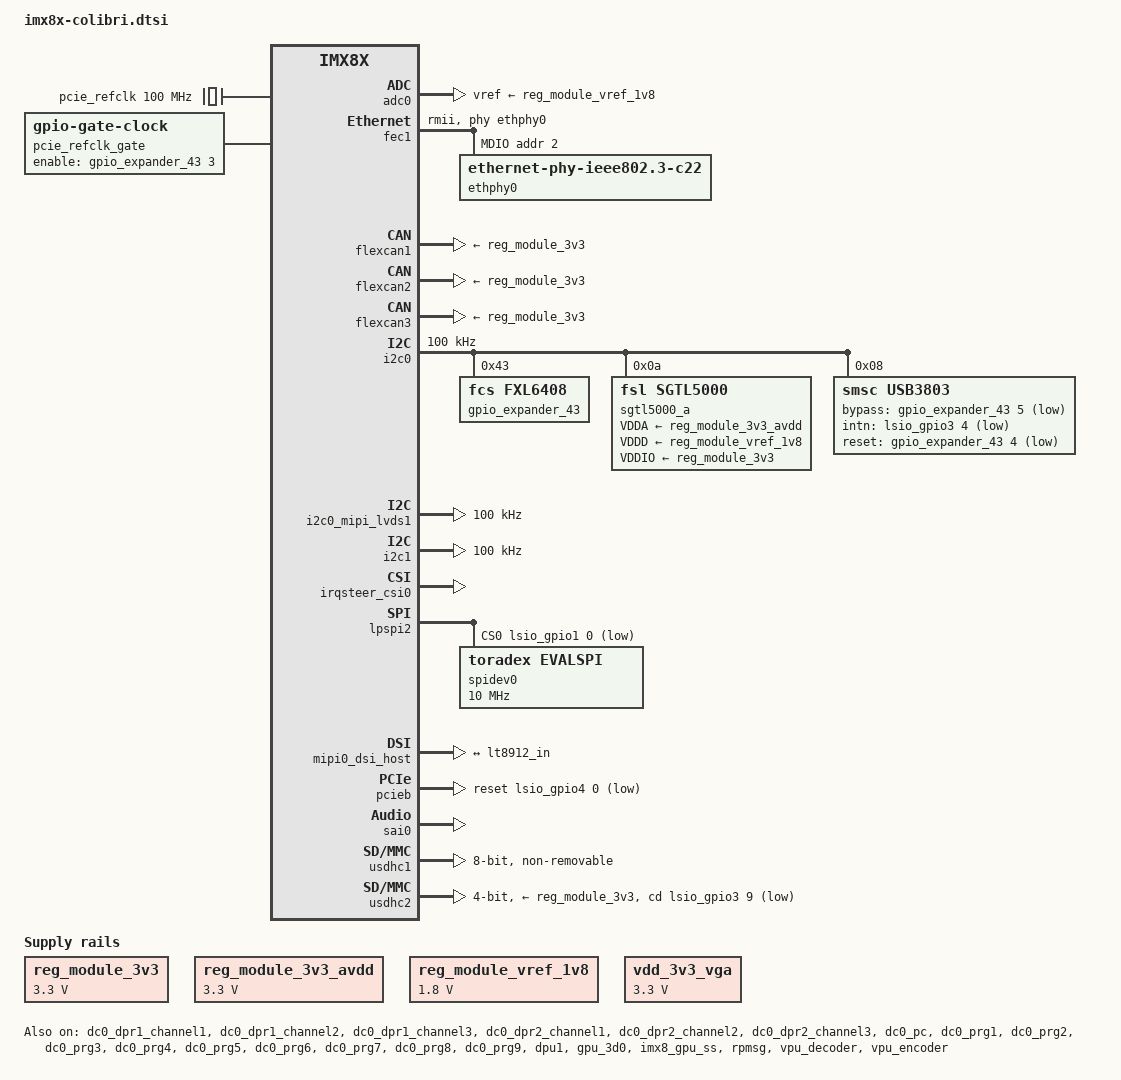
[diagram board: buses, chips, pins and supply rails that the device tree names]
// SPDX-License-Identifier: GPL-2.0+ OR X11
/*
 * Copyright 2018-2021 Toradex
 */

#include "dt-bindings/pwm/pwm.h"

/ {
	backlight: backlight {
		compatible = "pwm-backlight";
		pinctrl-names = "default";
		pinctrl-0 = <&pinctrl_gpio_bl_on>;
		brightness-levels = <0 45 63 88 119 158 203 255>;
		default-brightness-level = <4>;
		enable-gpios = <&lsio_gpio3 12 GPIO_ACTIVE_HIGH>; /* Colibri BL_ON */
		power-supply = <&reg_module_3v3>;
		pwms = <&adma_pwm 0 6666667 PWM_POLARITY_INVERTED>;
		status = "disabled";
	};

	chosen {
		bootargs = "console=ttyLP3,115200";
		stdout-path = &lpuart3;
	};

	/* Colibri Parallel RGB */
	display_lcdif: display@disp1 {
		compatible = "fsl,imx-lcdif-mux-display";
		pinctrl-names = "default";
		pinctrl-0 = <&pinctrl_lcdif>;
		clocks = <&clk IMX_SC_R_LCD_0 IMX_SC_PM_CLK_BYPASS>,
			 <&clk IMX_SC_R_LCD_0 IMX_SC_PM_CLK_MISC0>;
		clock-names = "bypass_div", "pixel";
		assigned-clocks = <&clk IMX_SC_R_LCD_0 IMX_SC_PM_CLK_MISC0>;
		assigned-clock-parents = <&clk IMX_SC_R_LCD_0 IMX_SC_PM_CLK_BYPASS>;
		fsl,lcdif-mux-regs = <&lcdif_mux_regs>;
		fsl,interface-pix-fmt = "rgb666";
		power-domains = <&pd IMX_SC_R_LCD_0>;
		status = "disabled";

		#address-cells = <1>;
		#size-cells = <0>;

		port@0 {
			reg = <0>;

			lcd_display_in: endpoint {
				remote-endpoint = <&dpu_disp1_lcdif>;
			};
		};
	};

	panel_dpi: panel-dpi {
		compatible = "panel-dpi";
		backlight = <&backlight>;
		data-mapping = "bgr666";
		power-supply = <&reg_module_3v3>;
		status = "disabled";
	};

	pcie_refclk: pcie-clock-generator {
		compatible = "fixed-clock";
		#clock-cells = <0>;
		clock-frequency = <100000000>;
	};

	pcie_refclk_gate: pcie-ref-clock {
		compatible = "gpio-gate-clock";
		#clock-cells = <0>;
		clocks = <&pcie_refclk>;
		enable-gpios = <&gpio_expander_43 3 GPIO_ACTIVE_HIGH>;
	};

	reg_module_3v3: regulator-module-3v3 {
		compatible = "regulator-fixed";
		regulator-name = "+V3.3";
		regulator-min-microvolt = <3300000>;
		regulator-max-microvolt = <3300000>;
	};

	reg_module_3v3_avdd: regulator-module-3v3-avdd {
		compatible = "regulator-fixed";
		regulator-name = "+V3.3_AVDD_AUDIO";
		regulator-min-microvolt = <3300000>;
		regulator-max-microvolt = <3300000>;
	};

	reg_module_vref_1v8: regulator-module-vref-1v8 {
		compatible = "regulator-fixed";
		regulator-name = "vref-1v8";
		regulator-min-microvolt = <1800000>;
		regulator-max-microvolt = <1800000>;
	};

	reserved-memory {
		#address-cells = <2>;
		#size-cells = <2>;
		ranges;

		/*
		 * 0x8800_0000 ~ 0x8FFF_FFFF is reserved for M4
		 * Shouldn't be used at A core and Linux side.
		 *
		 */
		m4_reserved: m4@0x88000000 {
			no-map;
			reg = <0 0x88000000 0 0x8000000>;
		};

		rpmsg_reserved: rpmsg@0x90000000 {
			no-map;
			reg = <0 0x90200000 0 0x200000>;
		};

		decoder_boot: decoder-boot@84000000 {
			reg = <0 0x84000000 0 0x2000000>;
			no-map;
		};

		encoder_boot: encoder-boot@86000000 {
			reg = <0 0x86000000 0 0x200000>;
			no-map;
		};

		decoder_rpc: decoder-rpc@0x92000000 {
			reg = <0 0x92000000 0 0x200000>;
			no-map;
		};

		encoder_rpc: encoder-rpc@0x92200000 {
			reg = <0 0x92200000 0 0x200000>;
			no-map;
		};

		encoder_reserved: encoder_reserved@94400000 {
			no-map;
			reg = <0 0x94400000 0 0x800000>;
		};

		vdev0vring0: vdev0vring0@90000000 {
			compatible = "shared-dma-pool";
			reg = <0 0x90000000 0 0x8000>;
			no-map;
		};

		vdev0vring1: vdev0vring1@90008000 {
			compatible = "shared-dma-pool";
			reg = <0 0x90008000 0 0x8000>;
			no-map;
		};

		vdev1vring0: vdev1vring0@90010000 {
			compatible = "shared-dma-pool";
			reg = <0 0x90010000 0 0x8000>;
			no-map;
		};

		vdev1vring1: vdev1vring1@90018000 {
			compatible = "shared-dma-pool";
			reg = <0 0x90018000 0 0x8000>;
			no-map;
		};

		vdevbuffer: vdevbuffer {
			compatible = "shared-dma-pool";
			reg = <0 0x90400000 0 0x100000>;
			no-map;
		};
	};

	sound_card: sound-card {
		compatible = "simple-audio-card";
		simple-audio-card,bitclock-master = <&dailink_master>;
		simple-audio-card,format = "i2s";
		simple-audio-card,frame-master = <&dailink_master>;
		simple-audio-card,name = "imx8qxp-sgtl5000";

		dailink_master: simple-audio-card,codec {
			sound-dai = <&sgtl5000_a>;
			clocks = <&mclkout0_lpcg 0>;
		};

		simple-audio-card,cpu {
			sound-dai = <&sai0>;
		};
	};

	vdd_3v3_vga: regulator-vga-avcc {
		compatible = "regulator-fixed";
		regulator-name = "+3.3V_AVCC_VGA";
		regulator-min-microvolt = <3300000>;
		regulator-max-microvolt = <3300000>;
		regulator-always-on;
	};
};

/* Colibri Analogue Inputs */
&adc0 {
	pinctrl-names = "default";
	pinctrl-0 = <&pinctrl_adc0>;
	status = "okay";
	vref-supply = <&reg_module_vref_1v8>;
};

/* Colibri PWM_A */
&adma_pwm {
	pinctrl-names = "default";
	pinctrl-0 = <&pinctrl_pwm_a>;
	#pwm-cells = <3>;
};

&adma_lcdif {
	pinctrl-names = "default";
	pinctrl-0 = <&pinctrl_lcdif>;
	status = "disabled";
};

/* Display Prefetch Resolve, (Tiling) */
&dc0_dpr1_channel1 {
	status = "okay";
};

&dc0_dpr1_channel2 {
	status = "okay";
};

&dc0_dpr1_channel3 {
	status = "okay";
};

&dc0_dpr2_channel1 {
	status = "okay";
};

&dc0_dpr2_channel2 {
	status = "okay";
};

&dc0_dpr2_channel3 {
	status = "okay";
};

&dc0_pc {
	status = "okay";
};

&dc0_prg1 {
	status = "okay";
};

&dc0_prg2 {
	status = "okay";
};

&dc0_prg3 {
	status = "okay";
};

&dc0_prg4 {
	status = "okay";
};

&dc0_prg5 {
	status = "okay";
};

&dc0_prg6 {
	status = "okay";
};

&dc0_prg7 {
	status = "okay";
};

&dc0_prg8 {
	status = "okay";
};

&dc0_prg9 {
	status = "okay";
};

&dpu1 {
	status = "okay";
};

&dpu_disp1_lcdif {
	remote-endpoint = <&lcd_display_in>;
};

&enet0_lpcg {
	clocks = <&clk IMX_SC_R_ENET_0 IMX_SC_PM_CLK_PER>,
		 <&clk IMX_SC_R_ENET_0 IMX_SC_PM_CLK_PER>,
		 <&conn_axi_clk>,
		 <&clk IMX_SC_R_ENET_0 IMX_SC_C_DISABLE_50>,
		 <&conn_ipg_clk>,
		 <&conn_ipg_clk>;
	clock-output-names = "enet0_lpcg_timer_clk",
			     "enet0_lpcg_txc_sampling_clk",
			     "enet0_lpcg_ahb_clk",
			     "enet0_lpcg_ref_50mhz_clk",
			     "enet0_lpcg_ipg_clk",
			     "enet0_lpcg_ipg_s_clk";
};

/* Colibri FastEthernet */
&fec1 {
	pinctrl-names = "default", "sleep";
	pinctrl-0 = <&pinctrl_fec1>;
	pinctrl-1 = <&pinctrl_fec1_sleep>;
	phy-mode = "rmii";
	phy-handle = <&ethphy0>;
	fsl,magic-packet;
	fsl,wakeup_irq = <0>;

	mdio {
		#address-cells = <1>;
		#size-cells = <0>;

		ethphy0: ethernet-phy@2 {
			compatible = "ethernet-phy-ieee802.3-c22";
			max-speed = <100>;
			reg = <2>;
		};
	};
};

/* Colibri optional CAN on UART_B RTS/CTS */
&flexcan1 {
	pinctrl-names = "default";
	pinctrl-0 = <&pinctrl_flexcan1>;
	xceiver-supply = <&reg_module_3v3>;
};

/* Colibri optional CAN on PS2 */
&flexcan2 {
	pinctrl-names = "default";
	pinctrl-0 = <&pinctrl_flexcan2>;
	xceiver-supply = <&reg_module_3v3>;
};

/* Colibri optional CAN on UART_A TXD/RXD */
&flexcan3 {
	pinctrl-names = "default";
	pinctrl-0 = <&pinctrl_flexcan3>;
	xceiver-supply = <&reg_module_3v3>;
};

&gpu_3d0 {
	status = "okay";
};

&hsio_refb_clk {
	status = "disabled";
};

/* On-module I2C */
&i2c0 {
	#address-cells = <1>;
	#size-cells = <0>;
	clock-frequency = <100000>;
	pinctrl-names = "default";
	/*
	 * There is a shared clock between SGTL5000 and on-module USB hub,
	 * so it is a good way to handle pinmuxing for this clock on a parent
	 * device i2c0
	 */
	pinctrl-0 = <&pinctrl_i2c0>, <&pinctrl_sgtl5000_usb_clk>;
	status = "okay";

	/* on-module Resistive Touch controller */
	ad7879_ts: touchscreen@2c {
		compatible = "adi,ad7879-1";
		pinctrl-names = "default";
		pinctrl-0 = <&pinctrl_ad7879_int>;
		reg = <0x2c>;
		interrupt-parent = <&lsio_gpio3>;
		interrupts = <5 IRQ_TYPE_EDGE_FALLING>;
		touchscreen-max-pressure = <4096>;
		adi,resistance-plate-x = <120>;
		adi,first-conversion-delay = /bits/ 8 <3>;
		adi,acquisition-time = /bits/ 8 <1>;
		adi,median-filter-size = /bits/ 8 <2>;
		adi,averaging = /bits/ 8 <1>;
		adi,conversion-interval = /bits/ 8 <255>;
		status = "disabled";
	};

	/* GPIO expander */
	gpio_expander_43: gpio-expander@43 {
		compatible = "fcs,fxl6408";
		gpio-controller;
		#gpio-cells = <2>;
		reg = <0x43>;
		inital_io_dir = <0xff>;
		inital_output = <0x05>;
		gpio-line-names = "Wi-Fi_W_DISABLE", "Wi-Fi_WKUP_WLAN",
			"PWR_EN_+V3.3_WiFi_N", "PCIe_REF_CLK_EN",
			"USB_RESET_N", "USB_BYPASS_N", "Wi-Fi_PDn",
			"Wi-Fi_WKUP_BT";
	};

	sgtl5000_a: codec@a {
		compatible = "fsl,sgtl5000";
		#sound-dai-cells = <0>;
		assigned-clocks = <&clk IMX_SC_R_AUDIO_PLL_0 IMX_SC_PM_CLK_PLL>,
				<&clk IMX_SC_R_AUDIO_PLL_0 IMX_SC_PM_CLK_SLV_BUS>,
				<&clk IMX_SC_R_AUDIO_PLL_0 IMX_SC_PM_CLK_MST_BUS>,
				<&mclkout0_lpcg 0>;
		assigned-clock-rates = <786432000>, <49152000>, <12000000>, <12000000>;
		clocks = <&mclkout0_lpcg 0>;
		clock-names = "mclk";
		reg = <0xa>;
		VDDA-supply = <&reg_module_3v3_avdd>;
		VDDD-supply = <&reg_module_vref_1v8>;
		VDDIO-supply = <&reg_module_3v3>;
	};

	/* USB3503A */
	usb3803@8 {
		compatible = "smsc,usb3803";
		pinctrl-names = "default";
		pinctrl-0 = <&pinctrl_usb3503a>;
		assigned-clocks = <&clk IMX_SC_R_AUDIO_PLL_0 IMX_SC_PM_CLK_PLL>,
				<&clk IMX_SC_R_AUDIO_PLL_0 IMX_SC_PM_CLK_SLV_BUS>,
				<&clk IMX_SC_R_AUDIO_PLL_0 IMX_SC_PM_CLK_MST_BUS>,
				<&mclkout0_lpcg 0>;
		assigned-clock-rates = <786432000>, <49152000>, <12000000>, <12000000>;
		bypass-gpios = <&gpio_expander_43 5 GPIO_ACTIVE_LOW>;
		clocks = <&mclkout0_lpcg 0>;
		clock-names = "refclk";
		disabled-ports = <2>;
		initial-mode = <1>;
		intn-gpios = <&lsio_gpio3 4 GPIO_ACTIVE_LOW>;
		non-removable-devices = <1>;
		reg = <0x8>;
		reset-gpios = <&gpio_expander_43 4 GPIO_ACTIVE_LOW>;
	};
};

/* MIPI DSI accessible on FFC (X2) */
&i2c0_mipi_lvds0 {
	pinctrl-names = "default";
	pinctrl-0 = <&pinctrl_i2c0_mipi_lvds0>;
	clock-frequency = <100000>;
	status = "disabled";

	#address-cells = <1>;
	#size-cells = <0>;

	/* DSI to HDMI Adapter V1.1A */
	pca9540_switch: i2c-switch@70 {
		compatible = "nxp,pca9540";
		reg = <0x70>;
		i2c-mux-idle-disconnect;
		status = "disabled";

		#address-cells = <1>;
		#size-cells = <0>;

		/* DDC/EDID */
		i2c_sw0: i2c-sw@0 {
			reg = <0>;
		};

		/* DSI-HDMI converter */
		i2c-sw@1 {
			reg = <1>;

			#address-cells = <1>;
			#size-cells = <0>;

			lt8912_hdmi: dsihdmi@48 {
				compatible = "lontium,lt8912";
				ddc-i2c-bus = <&i2c_sw0>;
				hpd-gpios = <&lsio_gpio1 31 GPIO_ACTIVE_HIGH>;
				pinctrl-names = "default";
				pinctrl-0 = <&pinctrl_gpio_hpd>;
				reg = <0x48>;

				port {
					lt8912_in: endpoint {
						remote-endpoint = <&mipi0_dsi_host_out>;
					};
				};
			};
		};
	};
};

/* On-module MIPI CSI I2C accessible on FFC (X3) */
&i2c0_mipi_lvds1 {
	#address-cells = <1>;
	#size-cells = <0>;
	clock-frequency = <100000>;
	pinctrl-names = "default";
	pinctrl-0 = <&pinctrl_i2c0_mipi_lvds1>;
};

/* Colibri I2C */
&i2c1 {
	#address-cells = <1>;
	#size-cells = <0>;
	clock-frequency = <100000>;
	pinctrl-names = "default";
	pinctrl-0 = <&pinctrl_i2c1>;

	/* Atmel maxtouch controller */
	atmel_mxt_ts: touchscreen@4a {
		compatible = "atmel,maxtouch";
		pinctrl-names = "default";
		pinctrl-0 = <&pinctrl_atmel_conn>;
		reg = <0x4a>;
		interrupt-parent = <&lsio_gpio3>;
		interrupts = <20 IRQ_TYPE_EDGE_FALLING>;		/* SODIMM 107 */
		reset-gpios = <&lsio_gpio3 24 GPIO_ACTIVE_HIGH>;	/* SODIMM 106 */
		status = "disabled";
	};
};

&imx8_gpu_ss {
	status = "okay";
};

&iomuxc {
	pinctrl-names = "default";
	pinctrl-0 = <&pinctrl_hog0>, <&pinctrl_hog1>, <&pinctrl_hog2>,
		    <&pinctrl_ext_io0>, <&pinctrl_lpspi2_cs2>;

	colibri-imx8qxp {
		/* On-module touch pen-down interrupt */
		pinctrl_ad7879_int: ad7879-int {
			fsl,pins = <
				IMX8QXP_MIPI_CSI0_I2C0_SCL_LSIO_GPIO3_IO05	0x21
			>;
		};

		/* Colibri Analogue Inputs */
		pinctrl_adc0: adc0grp {
			fsl,pins = <
				IMX8QXP_ADC_IN0_ADMA_ADC_IN0			0x60		/* SODIMM   8 */
				IMX8QXP_ADC_IN1_ADMA_ADC_IN1			0x60		/* SODIMM   6 */
				IMX8QXP_ADC_IN4_ADMA_ADC_IN4			0x60		/* SODIMM   4 */
				IMX8QXP_ADC_IN5_ADMA_ADC_IN5			0x60		/* SODIMM   2 */
			>;
		};

		/* Atmel MXT touchsceen + boards with built-in Capacitive Touch Connector */
		pinctrl_atmel_conn: mxt-ts-connector {
			fsl,pins = <
				IMX8QXP_QSPI0B_DATA2_LSIO_GPIO3_IO20		0x4000021	/* SODIMM 107 */
				IMX8QXP_QSPI0B_SS1_B_LSIO_GPIO3_IO24		0x21		/* SODIMM 106 */
			>;
		};

		/* Atmel MXT touchsceen + Capacitive Touch Adapter */
		/* NOTE: This pingroup conflicts with pingroups
		 * pinctrl_pwm_b/pinctrl_pwm_c. Don't enable them
		 * simultaneously.
		 */
		pinctrl_atmel_adap: mxt-ts-adapter {
			fsl,pins = <
				IMX8QXP_UART1_TX_LSIO_GPIO0_IO21		0x4000021	/* SODIMM  28 */
				IMX8QXP_UART1_RX_LSIO_GPIO0_IO22		0x21		/* SODIMM  30 */
			>;
		};

		pinctrl_can_int: can-int-grp {
			fsl,pins = <
				IMX8QXP_QSPI0A_DQS_LSIO_GPIO3_IO13		0x40		/* SODIMM  73 */
			>;
		};

		pinctrl_csi_ctl: csictlgrp {
			fsl,pins = <
				IMX8QXP_QSPI0A_SS0_B_LSIO_GPIO3_IO14		0x20		/* SODIMM  77 / X3-22 / CSI_CTL_GPIO2 */
				IMX8QXP_QSPI0A_SS1_B_LSIO_GPIO3_IO15		0x20		/* SODIMM  89 / X3-11 / CSI_CTL_RESET# */
			>;
		};

		pinctrl_csi_mclk: csimclkgrp {
			fsl,pins = <
				IMX8QXP_CSI_MCLK_CI_PI_MCLK			0xC0000041	/* SODIMM  75 / X3-12 */
			>;
		};

		pinctrl_gpiokeys: gpiokeysgrp {
			fsl,pins = <
				IMX8QXP_QSPI0A_DATA1_LSIO_GPIO3_IO10		0x06700041	/* SODIMM  45 */
			>;
		};

		/* Colibri UART_B */
		pinctrl_lpuart0: lpuart0grp {
			fsl,pins = <
				IMX8QXP_UART0_RX_ADMA_UART0_RX			0x06000020	/* SODIMM  36 */
				IMX8QXP_UART0_TX_ADMA_UART0_TX			0x06000020	/* SODIMM  38 */
				IMX8QXP_FLEXCAN0_RX_ADMA_UART0_RTS_B		0x06000020	/* SODIMM  34 */
				IMX8QXP_FLEXCAN0_TX_ADMA_UART0_CTS_B		0x06000020	/* SODIMM  32 */
			>;
		};

		/* Colibri UART_C */
		pinctrl_lpuart2: lpuart2grp {
			fsl,pins = <
				IMX8QXP_UART2_RX_ADMA_UART2_RX			0x06000020	/* SODIMM  19 */
				IMX8QXP_UART2_TX_ADMA_UART2_TX			0x06000020	/* SODIMM  21 */
			>;
		};

		/* Colibri UART_A */
		pinctrl_lpuart3: lpuart3grp {
			fsl,pins = <
				IMX8QXP_FLEXCAN2_RX_ADMA_UART3_RX		0x06000020	/* SODIMM  33 */
				IMX8QXP_FLEXCAN2_TX_ADMA_UART3_TX		0x06000020	/* SODIMM  35 */
			>;
		};

		/* Colibri UART_A Control */
		pinctrl_lpuart3_ctrl: lpuart3ctrlgrp {
			fsl,pins = <
				IMX8QXP_MIPI_DSI1_GPIO0_01_LSIO_GPIO2_IO00 	0x20		/* SODIMM  23 */
				IMX8QXP_SAI1_RXD_LSIO_GPIO0_IO29		0x20		/* SODIMM  25 */
				IMX8QXP_SAI1_RXC_LSIO_GPIO0_IO30		0x20		/* SODIMM  27 */
				IMX8QXP_CSI_RESET_LSIO_GPIO3_IO03		0x20		/* SODIMM  29 */
				IMX8QXP_USDHC1_CD_B_LSIO_GPIO4_IO22		0x20		/* SODIMM  31 */
				IMX8QXP_CSI_EN_LSIO_GPIO3_IO02			0x20		/* SODIMM  37 */
			>;
		};

		/* Colibri Ethernet: On-module 100Mbps PHY Micrel KSZ8041 */
		pinctrl_fec1: fec1grp {
			fsl,pins = <
				IMX8QXP_COMP_CTL_GPIO_1V8_3V3_ENET_ENETB0_PAD	0x000014a0 /* Use pads in 3.3V mode */
				IMX8QXP_COMP_CTL_GPIO_1V8_3V3_ENET_ENETB1_PAD	0x000014a0 /* Use pads in 3.3V mode */
				IMX8QXP_ENET0_MDC_CONN_ENET0_MDC		0x06000020
				IMX8QXP_ENET0_MDIO_CONN_ENET0_MDIO		0x06000020
				IMX8QXP_ENET0_RGMII_TX_CTL_CONN_ENET0_RGMII_TX_CTL	0x61
				IMX8QXP_ENET0_RGMII_TXC_CONN_ENET0_RCLK50M_OUT	0x06000061
				IMX8QXP_ENET0_RGMII_TXD0_CONN_ENET0_RGMII_TXD0	0x61
				IMX8QXP_ENET0_RGMII_TXD1_CONN_ENET0_RGMII_TXD1	0x61
				IMX8QXP_ENET0_RGMII_RX_CTL_CONN_ENET0_RGMII_RX_CTL	0x61
				IMX8QXP_ENET0_RGMII_RXD0_CONN_ENET0_RGMII_RXD0	0x61
				IMX8QXP_ENET0_RGMII_RXD1_CONN_ENET0_RGMII_RXD1	0x61
				IMX8QXP_ENET0_RGMII_RXD2_CONN_ENET0_RMII_RX_ER	0x61
			>;
		};

		pinctrl_fec1_sleep: fec1-sleep-grp {
			fsl,pins = <
				IMX8QXP_ENET0_MDC_LSIO_GPIO5_IO11		0x06000041
				IMX8QXP_ENET0_MDIO_LSIO_GPIO5_IO10		0x06000041
				IMX8QXP_ENET0_RGMII_TX_CTL_LSIO_GPIO4_IO30	0x41
				IMX8QXP_ENET0_RGMII_TXC_LSIO_GPIO4_IO29		0x41
				IMX8QXP_ENET0_RGMII_TXD0_LSIO_GPIO4_IO31	0x41
				IMX8QXP_ENET0_RGMII_TXD1_LSIO_GPIO5_IO00	0x41
				IMX8QXP_ENET0_RGMII_RX_CTL_LSIO_GPIO5_IO04	0x41
				IMX8QXP_ENET0_RGMII_RXD0_LSIO_GPIO5_IO05	0x41
				IMX8QXP_ENET0_RGMII_RXD1_LSIO_GPIO5_IO06	0x41
				IMX8QXP_ENET0_RGMII_RXD2_LSIO_GPIO5_IO07	0x41
			>;
		};

		/* Colibri LCD Back-Light GPIO */
		pinctrl_gpio_bl_on: gpio-bl-on {
			fsl,pins = <
				IMX8QXP_QSPI0A_DATA3_LSIO_GPIO3_IO12		0x60		/* SODIMM  71 */
			>;
		};

		/* HDMI Hot Plug Detect on FFC (X2) */
		pinctrl_gpio_hpd: gpio-hpd {
			fsl,pins = <
				IMX8QXP_MIPI_DSI1_GPIO0_00_LSIO_GPIO1_IO31	0x20		/* SODIMM 138 */
			>;
		};

		pinctrl_hog0: hog0grp {
			fsl,pins = <
				IMX8QXP_COMP_CTL_GPIO_1V8_3V3_GPIORHB_PAD	0x000514a0 /* Use pads in 3.3V mode */
			>;
		};

		pinctrl_hog1: hog1grp {
			fsl,pins = <
				IMX8QXP_CSI_D07_CI_PI_D09			0x61		/* SODIMM  65 */
				IMX8QXP_QSPI0A_DATA2_LSIO_GPIO3_IO11		0x20		/* SODIMM  69 */
				IMX8QXP_SAI0_TXC_LSIO_GPIO0_IO26		0x20		/* SODIMM  79 */
				IMX8QXP_CSI_D02_CI_PI_D04			0x61		/* SODIMM  79 */
				IMX8QXP_ENET0_RGMII_RXC_LSIO_GPIO5_IO03		0x06000020	/* SODIMM  85 */
				IMX8QXP_CSI_D06_CI_PI_D08			0x61		/* SODIMM  85 */
				IMX8QXP_SAI0_RXD_LSIO_GPIO0_IO27		0x20		/* SODIMM  97 */
				IMX8QXP_CSI_D03_CI_PI_D05			0x61		/* SODIMM  97 */
				IMX8QXP_SAI0_TXFS_LSIO_GPIO0_IO28		0x20		/* SODIMM 101 */
				IMX8QXP_CSI_D00_CI_PI_D02			0x61		/* SODIMM 101 */
				IMX8QXP_SAI0_TXD_LSIO_GPIO0_IO25		0x20		/* SODIMM 103 */
				IMX8QXP_CSI_D01_CI_PI_D03			0x61		/* SODIMM 103 */
				IMX8QXP_QSPI0B_DATA1_LSIO_GPIO3_IO19		0x20		/* SODIMM 105 */
				IMX8QXP_USB_SS3_TC2_LSIO_GPIO4_IO05		0x20		/* SODIMM 127 */
				IMX8QXP_USB_SS3_TC3_LSIO_GPIO4_IO06		0x20		/* SODIMM 131 */
				IMX8QXP_USB_SS3_TC1_LSIO_GPIO4_IO04		0x20		/* SODIMM 133 */
				IMX8QXP_CSI_PCLK_LSIO_GPIO3_IO00		0x20		/* SODIMM  96 */
				IMX8QXP_QSPI0B_DATA3_LSIO_GPIO3_IO21		0x20		/* SODIMM  98 */
				IMX8QXP_SAI1_RXFS_LSIO_GPIO0_IO31		0x20		/* SODIMM 100 */
				IMX8QXP_QSPI0B_DQS_LSIO_GPIO3_IO22		0x20		/* SODIMM 102 */
				IMX8QXP_QSPI0B_SS0_B_LSIO_GPIO3_IO23		0x20		/* SODIMM 104 */
			>;
		};

		pinctrl_hog2: hog2grp {
			fsl,pins = <
				IMX8QXP_QSPI0A_SCLK_LSIO_GPIO3_IO16		0x20		/* SODIMM  93 */
			>;
		};

		pinctrl_hog3: hog3grp {
			fsl,pins = <
				IMX8QXP_CSI_MCLK_LSIO_GPIO3_IO01		0x20		/* SODIMM  75 */
			>;
		};

		/*
		 * This pin is used in the SCFW as a UART. Using it from
		 * Linux would require rewritting the SCFW board file.
		 */
		pinctrl_hog_scfw: hogscfwgrp {
			fsl,pins = <
				IMX8QXP_SCU_GPIO0_00_LSIO_GPIO2_IO03		0x20		/* SODIMM 144 */
			>;
		};

		/* On Module I2C */
		pinctrl_i2c0: i2c0grp {
			fsl,pins = <
				IMX8QXP_MIPI_CSI0_GPIO0_00_ADMA_I2C0_SCL	0x06000021
				IMX8QXP_MIPI_CSI0_GPIO0_01_ADMA_I2C0_SDA	0x06000021
			>;
		};

		/* Colibri I2C */
		pinctrl_i2c1: i2c1grp {
			fsl,pins = <
				IMX8QXP_MIPI_DSI0_GPIO0_00_ADMA_I2C1_SCL	0x06000021	/* SODIMM 196 */
				IMX8QXP_MIPI_DSI0_GPIO0_01_ADMA_I2C1_SDA	0x06000021	/* SODIMM 194 */
			>;
		};

		/* Colibri optional CAN on UART_B RTS/CTS */
		pinctrl_flexcan1: flexcan0grp {
			fsl,pins = <
				IMX8QXP_FLEXCAN0_TX_ADMA_FLEXCAN0_TX		0x21		/* SODIMM  32 */
				IMX8QXP_FLEXCAN0_RX_ADMA_FLEXCAN0_RX		0x21		/* SODIMM  34 */
			>;
		};

		/* Colibri optional CAN on PS2 */
		pinctrl_flexcan2: flexcan1grp {
			fsl,pins = <
				IMX8QXP_FLEXCAN1_TX_ADMA_FLEXCAN1_TX		0x21		/* SODIMM  55 */
				IMX8QXP_FLEXCAN1_RX_ADMA_FLEXCAN1_RX		0x21		/* SODIMM  63 */
			>;
		};

		/* Colibri optional CAN on UART_A TXD/RXD */
		pinctrl_flexcan3: flexcan2grp {
			fsl,pins = <
				IMX8QXP_FLEXCAN2_TX_ADMA_FLEXCAN2_TX		0x21		/* SODIMM  35 */
				IMX8QXP_FLEXCAN2_RX_ADMA_FLEXCAN2_RX		0x21		/* SODIMM  33 */
			>;
		};

		/* On module wifi module */
		pinctrl_pcieb: pciebgrp {
			fsl,pins = <
				IMX8QXP_PCIE_CTRL0_CLKREQ_B_LSIO_GPIO4_IO01	0x04000061	/* SODIMM 178 */
				IMX8QXP_PCIE_CTRL0_WAKE_B_LSIO_GPIO4_IO02	0x04000061	/* SODIMM  94 */
				IMX8QXP_PCIE_CTRL0_PERST_B_LSIO_GPIO4_IO00	0x60		/* SODIMM  81 */
			>;
		};

		/* Colibri PWM_A */
		pinctrl_pwm_a: pwma {
		/* both pins are connected together, reserve the unused CSI_D05 */
			fsl,pins = <
				IMX8QXP_CSI_D05_CI_PI_D07			0x61		/* SODIMM  59 */
				IMX8QXP_SPI0_CS1_ADMA_LCD_PWM0_OUT		0x60		/* SODIMM  59 */
			>;
		};

		/* Colibri PWM_B */
		pinctrl_pwm_b: pwmb {
			fsl,pins = <
				IMX8QXP_UART1_TX_LSIO_PWM0_OUT			0x60		/* SODIMM  28 */
			>;
		};

		/* Colibri PWM_C */
		pinctrl_pwm_c: pwmc {
			fsl,pins = <
				IMX8QXP_UART1_RX_LSIO_PWM1_OUT			0x60		/* SODIMM  30 */
			>;
		};

		/* Colibri PWM_D */
		pinctrl_pwm_d: pwmd {
		/* both pins are connected together, reserve the unused CSI_D04 */
			fsl,pins = <
				IMX8QXP_CSI_D04_CI_PI_D06			0x61		/* SODIMM  67 */
				IMX8QXP_UART1_RTS_B_LSIO_PWM2_OUT		0x60		/* SODIMM  67 */
			>;
		};

		/* On-module I2S */
		pinctrl_sai0: sai0grp {
			fsl,pins = <
				IMX8QXP_SPI0_SDI_ADMA_SAI0_TXD			0x06000040
				IMX8QXP_SPI0_CS0_ADMA_SAI0_RXD			0x06000040
				IMX8QXP_SPI0_SCK_ADMA_SAI0_TXC			0x06000040
				IMX8QXP_SPI0_SDO_ADMA_SAI0_TXFS			0x06000040
			>;
		};

		/* Colibri Audio Analogue Microphone GND */
		pinctrl_sgtl5000: sgtl5000 {
			fsl,pins = <
				/* MIC GND EN */
				IMX8QXP_MIPI_CSI0_I2C0_SDA_LSIO_GPIO3_IO06	0x41
			>;
		};

		/* On-module SGTL5000 clock */
		pinctrl_sgtl5000_usb_clk: sgtl5000-usb-clk {
			fsl,pins = <
				IMX8QXP_ADC_IN3_ADMA_ACM_MCLK_OUT0		0x21
			>;
		};

		/* On-module USB interrupt */
		pinctrl_usb3503a: usb3503a-grp {
			fsl,pins = <
				IMX8QXP_MIPI_CSI0_MCLK_OUT_LSIO_GPIO3_IO04	0x61
			>;
		};

		/* Colibri USB Client Cable Detect */
		pinctrl_usbc_det: usbc-det {
			fsl,pins = <
				IMX8QXP_ENET0_REFCLK_125M_25M_LSIO_GPIO5_IO09	0x06000040	/* SODIMM 137 */
			>;
		};

		pinctrl_ext_io0: ext-io0 {
			fsl,pins = <
				IMX8QXP_ENET0_RGMII_RXD3_LSIO_GPIO5_IO08	0x06000040	/* SODIMM 135 */
			>;
		};

		/* Colibri Parallel RGB LCD Interface */
		pinctrl_lcdif: lcdif-pins {
			fsl,pins = <
				IMX8QXP_USDHC1_RESET_B_LSIO_GPIO4_IO19		0x40		/* SODIMM  44 */
				IMX8QXP_MCLK_IN1_ADMA_LCDIF_EN			0x40		/* SODIMM  44 */
				IMX8QXP_MCLK_OUT0_ADMA_LCDIF_CLK		0x60		/* SODIMM  56 */
				IMX8QXP_SPI3_CS0_ADMA_LCDIF_HSYNC		0x60		/* SODIMM  68 */
				IMX8QXP_MCLK_IN0_ADMA_LCDIF_VSYNC		0x60		/* SODIMM  82 */
				IMX8QXP_ESAI0_FSR_ADMA_LCDIF_D00		0x60		/* SODIMM  76 */
				IMX8QXP_USDHC1_WP_LSIO_GPIO4_IO21		0x60		/* SODIMM  76 */
				IMX8QXP_ESAI0_FST_ADMA_LCDIF_D01		0x60		/* SODIMM  70 */
				IMX8QXP_ESAI0_SCKR_ADMA_LCDIF_D02		0x60		/* SODIMM  60 */
				IMX8QXP_ESAI0_SCKT_ADMA_LCDIF_D03		0x60		/* SODIMM  58 */
				IMX8QXP_ESAI0_TX0_ADMA_LCDIF_D04		0x60		/* SODIMM  78 */
				IMX8QXP_ESAI0_TX1_ADMA_LCDIF_D05		0x60		/* SODIMM  72 */
				IMX8QXP_ESAI0_TX2_RX3_ADMA_LCDIF_D06		0x60		/* SODIMM  80 */
				IMX8QXP_ESAI0_TX3_RX2_ADMA_LCDIF_D07		0x60		/* SODIMM  46 */
				IMX8QXP_ESAI0_TX4_RX1_ADMA_LCDIF_D08		0x60		/* SODIMM  62 */
				IMX8QXP_ESAI0_TX5_RX0_ADMA_LCDIF_D09		0x60		/* SODIMM  48 */
				IMX8QXP_SPDIF0_RX_ADMA_LCDIF_D10		0x60		/* SODIMM  74 */
				IMX8QXP_SPDIF0_TX_ADMA_LCDIF_D11		0x60		/* SODIMM  50 */
				IMX8QXP_SPDIF0_EXT_CLK_ADMA_LCDIF_D12		0x60		/* SODIMM  52 */
				IMX8QXP_SPI3_SCK_ADMA_LCDIF_D13			0x60		/* SODIMM  54 */
				IMX8QXP_SPI3_SDO_ADMA_LCDIF_D14			0x60		/* SODIMM  66 */
				IMX8QXP_SPI3_SDI_ADMA_LCDIF_D15			0x60		/* SODIMM  64 */
				IMX8QXP_SPI3_CS1_ADMA_LCDIF_D16			0x60		/* SODIMM  57 */
				IMX8QXP_ENET0_RGMII_TXD2_LSIO_GPIO5_IO01	0x60		/* SODIMM  57 */
				IMX8QXP_UART1_CTS_B_ADMA_LCDIF_D17		0x60		/* SODIMM  61 */
			>;
		};

		/* LVDS converter on Iris v2.0 */
		pinctrl_lvds_converter: lcd-lvds {
			fsl,pins = <
				IMX8QXP_FLEXCAN1_TX_LSIO_GPIO1_IO18		0x20		/* SODIMM  55 */
				/* 6B/8B mode. Select LOW - 8B mode (24bit) */
				IMX8QXP_FLEXCAN1_RX_LSIO_GPIO1_IO17		0x20		/* SODIMM  63 */
				IMX8QXP_QSPI0B_SCLK_LSIO_GPIO3_IO17		0x20		/* SODIMM  95 */
				IMX8QXP_QSPI0B_DATA0_LSIO_GPIO3_IO18		0x20		/* SODIMM  99 */
			>;
		};

		/* USB Host Power Enable */
		pinctrl_usbh1_reg: usbh1-reg {
			fsl,pins = <
				IMX8QXP_USB_SS3_TC0_LSIO_GPIO4_IO03		0x06000040	/* SODIMM 129 */
			>;
		};

		/* On-module eMMC */
		pinctrl_usdhc1: usdhc1grp {
			fsl,pins = <
				IMX8QXP_EMMC0_CLK_CONN_EMMC0_CLK		0x06000041
				IMX8QXP_EMMC0_CMD_CONN_EMMC0_CMD		0x21
				IMX8QXP_EMMC0_DATA0_CONN_EMMC0_DATA0		0x21
				IMX8QXP_EMMC0_DATA1_CONN_EMMC0_DATA1		0x21
				IMX8QXP_EMMC0_DATA2_CONN_EMMC0_DATA2		0x21
				IMX8QXP_EMMC0_DATA3_CONN_EMMC0_DATA3		0x21
				IMX8QXP_EMMC0_DATA4_CONN_EMMC0_DATA4		0x21
				IMX8QXP_EMMC0_DATA5_CONN_EMMC0_DATA5		0x21
				IMX8QXP_EMMC0_DATA6_CONN_EMMC0_DATA6		0x21
				IMX8QXP_EMMC0_DATA7_CONN_EMMC0_DATA7		0x21
				IMX8QXP_EMMC0_STROBE_CONN_EMMC0_STROBE		0x41
				IMX8QXP_EMMC0_RESET_B_CONN_EMMC0_RESET_B	0x21
			>;
		};

		pinctrl_usdhc1_100mhz: usdhc1grp100mhz {
			fsl,pins = <
				IMX8QXP_EMMC0_CLK_CONN_EMMC0_CLK		0x06000041
				IMX8QXP_EMMC0_CMD_CONN_EMMC0_CMD		0x21
				IMX8QXP_EMMC0_DATA0_CONN_EMMC0_DATA0		0x21
				IMX8QXP_EMMC0_DATA1_CONN_EMMC0_DATA1		0x21
				IMX8QXP_EMMC0_DATA2_CONN_EMMC0_DATA2		0x21
				IMX8QXP_EMMC0_DATA3_CONN_EMMC0_DATA3		0x21
				IMX8QXP_EMMC0_DATA4_CONN_EMMC0_DATA4		0x21
				IMX8QXP_EMMC0_DATA5_CONN_EMMC0_DATA5		0x21
				IMX8QXP_EMMC0_DATA6_CONN_EMMC0_DATA6		0x21
				IMX8QXP_EMMC0_DATA7_CONN_EMMC0_DATA7		0x21
				IMX8QXP_EMMC0_STROBE_CONN_EMMC0_STROBE		0x41
				IMX8QXP_EMMC0_RESET_B_CONN_EMMC0_RESET_B	0x21
			>;
		};

		pinctrl_usdhc1_200mhz: usdhc1grp200mhz {
			fsl,pins = <
				IMX8QXP_EMMC0_CLK_CONN_EMMC0_CLK		0x06000041
				IMX8QXP_EMMC0_CMD_CONN_EMMC0_CMD		0x21
				IMX8QXP_EMMC0_DATA0_CONN_EMMC0_DATA0		0x21
				IMX8QXP_EMMC0_DATA1_CONN_EMMC0_DATA1		0x21
				IMX8QXP_EMMC0_DATA2_CONN_EMMC0_DATA2		0x21
				IMX8QXP_EMMC0_DATA3_CONN_EMMC0_DATA3		0x21
				IMX8QXP_EMMC0_DATA4_CONN_EMMC0_DATA4		0x21
				IMX8QXP_EMMC0_DATA5_CONN_EMMC0_DATA5		0x21
				IMX8QXP_EMMC0_DATA6_CONN_EMMC0_DATA6		0x21
				IMX8QXP_EMMC0_DATA7_CONN_EMMC0_DATA7		0x21
				IMX8QXP_EMMC0_STROBE_CONN_EMMC0_STROBE		0x41
				IMX8QXP_EMMC0_RESET_B_CONN_EMMC0_RESET_B	0x21
			>;
		};

		/* Colibri SDCard CardDetect */
		pinctrl_usdhc2_gpio: usdhc2gpiogrp {
			fsl,pins = <
				IMX8QXP_QSPI0A_DATA0_LSIO_GPIO3_IO09		0x06000021	/* SODIMM  43 */
			>;
		};

		pinctrl_usdhc2_gpio_sleep: usdhc2gpioslpgrp {
			fsl,pins = <
				IMX8QXP_QSPI0A_DATA0_LSIO_GPIO3_IO09		0x60		/* SODIMM  43 */
			>;
		};

		/* Colibri SDCard */
		pinctrl_usdhc2: usdhc2grp {
			fsl,pins = <
				IMX8QXP_USDHC1_CLK_CONN_USDHC1_CLK		0x06000041	/* SODIMM  47 */
				IMX8QXP_USDHC1_CMD_CONN_USDHC1_CMD		0x21		/* SODIMM 190 */
				IMX8QXP_USDHC1_DATA0_CONN_USDHC1_DATA0		0x21		/* SODIMM 192 */
				IMX8QXP_USDHC1_DATA1_CONN_USDHC1_DATA1		0x21		/* SODIMM  49 */
				IMX8QXP_USDHC1_DATA2_CONN_USDHC1_DATA2		0x21		/* SODIMM  51 */
				IMX8QXP_USDHC1_DATA3_CONN_USDHC1_DATA3		0x21		/* SODIMM  53 */
				IMX8QXP_USDHC1_VSELECT_CONN_USDHC1_VSELECT	0x21
			>;
		};

		pinctrl_usdhc2_100mhz: usdhc2grp100mhz {
			fsl,pins = <
				IMX8QXP_USDHC1_CLK_CONN_USDHC1_CLK		0x06000041	/* SODIMM  47 */
				IMX8QXP_USDHC1_CMD_CONN_USDHC1_CMD		0x21		/* SODIMM 190 */
				IMX8QXP_USDHC1_DATA0_CONN_USDHC1_DATA0		0x21		/* SODIMM 192 */
				IMX8QXP_USDHC1_DATA1_CONN_USDHC1_DATA1		0x21		/* SODIMM  49 */
				IMX8QXP_USDHC1_DATA2_CONN_USDHC1_DATA2		0x21		/* SODIMM  51 */
				IMX8QXP_USDHC1_DATA3_CONN_USDHC1_DATA3		0x21		/* SODIMM  53 */
				IMX8QXP_USDHC1_VSELECT_CONN_USDHC1_VSELECT	0x21
			>;
		};

		pinctrl_usdhc2_200mhz: usdhc2grp200mhz {
			fsl,pins = <
				IMX8QXP_USDHC1_CLK_CONN_USDHC1_CLK		0x06000041	/* SODIMM  47 */
				IMX8QXP_USDHC1_CMD_CONN_USDHC1_CMD		0x21		/* SODIMM 190 */
				IMX8QXP_USDHC1_DATA0_CONN_USDHC1_DATA0		0x21		/* SODIMM 192 */
				IMX8QXP_USDHC1_DATA1_CONN_USDHC1_DATA1		0x21		/* SODIMM  49 */
				IMX8QXP_USDHC1_DATA2_CONN_USDHC1_DATA2		0x21		/* SODIMM  51 */
				IMX8QXP_USDHC1_DATA3_CONN_USDHC1_DATA3		0x21		/* SODIMM  53 */
				IMX8QXP_USDHC1_VSELECT_CONN_USDHC1_VSELECT	0x21
			>;
		};

		pinctrl_usdhc2_sleep: usdhc2slpgrp {
			fsl,pins = <
				IMX8QXP_USDHC1_CLK_LSIO_GPIO4_IO23		0x60		/* SODIMM  47 */
				IMX8QXP_USDHC1_CMD_LSIO_GPIO4_IO24		0x60		/* SODIMM 190 */
				IMX8QXP_USDHC1_DATA0_LSIO_GPIO4_IO25		0x60		/* SODIMM 192 */
				IMX8QXP_USDHC1_DATA1_LSIO_GPIO4_IO26		0x60		/* SODIMM  49 */
				IMX8QXP_USDHC1_DATA2_LSIO_GPIO4_IO27		0x60		/* SODIMM  51 */
				IMX8QXP_USDHC1_DATA3_LSIO_GPIO4_IO28		0x60		/* SODIMM  53 */
				IMX8QXP_USDHC1_VSELECT_CONN_USDHC1_VSELECT	0x21
			>;
		};

		/* MIPI DSI I2C accessible on SODIMM (X1) and FFC (X2) */
		pinctrl_i2c0_mipi_lvds0: mipi_lvds0_i2c0_grp {
			fsl,pins = <
				IMX8QXP_MIPI_DSI0_I2C0_SCL_MIPI_DSI0_I2C0_SCL 	0xc6000020	/* SODIMM 140 */
				IMX8QXP_MIPI_DSI0_I2C0_SDA_MIPI_DSI0_I2C0_SDA 	0xc6000020	/* SODIMM 142 */
			>;
		};

		/* MIPI CSI I2C accessible on SODIMM (X1) and FFC (X3) */
		pinctrl_i2c0_mipi_lvds1: mipi_lvds1_i2c0_grp {
			fsl,pins = <
				IMX8QXP_MIPI_DSI1_I2C0_SCL_MIPI_DSI1_I2C0_SCL 	0xc6000020	/* SODIMM 186 */
				IMX8QXP_MIPI_DSI1_I2C0_SDA_MIPI_DSI1_I2C0_SDA 	0xc6000020	/* SODIMM 188 */
			>;
		};

		/* Colibri SPI */
		pinctrl_lpspi2: lpspi2 {
			fsl,pins = <
				IMX8QXP_SPI2_CS0_LSIO_GPIO1_IO00		0x21		/* SODIMM  86 */
				IMX8QXP_SPI2_SDO_ADMA_SPI2_SDO			0x06000040	/* SODIMM  92 */
				IMX8QXP_SPI2_SDI_ADMA_SPI2_SDI			0x06000040	/* SODIMM  90 */
				IMX8QXP_SPI2_SCK_ADMA_SPI2_SCK			0x06000040	/* SODIMM  88 */
			>;
		};

		pinctrl_lpspi2_cs2: lpspi2-cs2 {
			fsl,pins = <
				IMX8QXP_ENET0_RGMII_TXD3_LSIO_GPIO5_IO02	0x21		/* SODIMM  65 */
			>;
		};

		pinctrl_wifi: wifigrp {
			fsl,pins = <
				IMX8QXP_SCU_BOOT_MODE3_SCU_DSC_RTC_CLOCK_OUTPUT_32K 0x20
			>;
		};
	};
};

&irqsteer_csi0 {
	status = "okay";
};

&isi_0 {
	/**
	 * interface = <Input MIPI_VCx Output>
	 * Input:	0-DC0, 1-DC1, 2-MIPI CSI0, 3-MIPI CSI1, 4-HDMI, 5-MEM, INPUT: 6-PARALLEL CSI
	 * MIPI_VCx:	0-VC0, 1-VC1, 2-VC2, 3-VC3, MIPI CSI only
	 * Output:	0-DC0, 1-DC1, 2-MEM
	 */
	interface = <2 0 2>;

	cap_device {
		status = "okay";
	};

	m2m_device {
		status = "okay";
	};
};

&isi_1 {
	interface = <6 0 2>;
	parallel_csi;
};

/* Colibri SPI */
&lpspi2 {
	pinctrl-names = "default";
	pinctrl-0 = <&pinctrl_lpspi2>;
	cs-gpios = <&lsio_gpio1 0 GPIO_ACTIVE_LOW>;
	status = "okay";

	spidev0: spidev@0 {
		compatible = "toradex,evalspi";
		reg = <0>;
		spi-max-frequency = <10000000>;
	};
};

/* Colibri UART_B */
&lpuart0 {
	pinctrl-names = "default";
	pinctrl-0 = <&pinctrl_lpuart0>;
};

/* Colibri UART_C */
&lpuart2 {
	pinctrl-names = "default";
	pinctrl-0 = <&pinctrl_lpuart2>;
};

/* Colibri UART_A */
&lpuart3 {
	pinctrl-names = "default";
	pinctrl-0 = <&pinctrl_lpuart3>, <&pinctrl_lpuart3_ctrl>;
};

&lsio_gpio0 {
	gpio-line-names = "",
			  "SODIMM_70",
			  "SODIMM_60",
			  "SODIMM_58",
			  "SODIMM_78",
			  "SODIMM_72",
			  "SODIMM_80",
			  "SODIMM_46",
			  "SODIMM_62",
			  "SODIMM_48",
			  "SODIMM_74",
			  "SODIMM_50",
			  "SODIMM_52",
			  "SODIMM_54",
			  "SODIMM_66",
			  "SODIMM_64",
			  "SODIMM_68",
			  "",
			  "",
			  "SODIMM_82",
			  "SODIMM_56",
			  "SODIMM_28",
			  "SODIMM_30",
			  "",
			  "SODIMM_61",
			  "SODIMM_103",
			  "",
			  "",
			  "",
			  "SODIMM_25",
			  "SODIMM_27",
			  "SODIMM_100";
	status = "okay";
};

&lsio_gpio1 {
	gpio-line-names = "SODIMM_86",
			  "SODIMM_92",
			  "SODIMM_90",
			  "SODIMM_88",
			  "",
			  "",
			  "",
			  "SODIMM_59",
			  "",
			  "SODIMM_6",
			  "SODIMM_8",
			  "",
			  "",
			  "SODIMM_2",
			  "SODIMM_4",
			  "SODIMM_34",
			  "SODIMM_32",
			  "SODIMM_63",
			  "SODIMM_55",
			  "SODIMM_33",
			  "SODIMM_35",
			  "SODIMM_36",
			  "SODIMM_38",
			  "SODIMM_21",
			  "SODIMM_19",
			  "SODIMM_140",
			  "SODIMM_142",
			  "SODIMM_196",
			  "SODIMM_194",
			  "SODIMM_186",
			  "SODIMM_188",
			  "SODIMM_138";
	status = "okay";
};

&lsio_gpio2 {
	gpio-line-names = "SODIMM_23",
			  "",
			  "",
			  "SODIMM_144";
	status = "okay";
};

&lsio_gpio3 {
	gpio-line-names = "SODIMM_96",
			  "SODIMM_75",
			  "SODIMM_37",
			  "SODIMM_29",
			  "",
			  "",
			  "",
			  "",
			  "",
			  "SODIMM_43",
			  "SODIMM_45",
			  "SODIMM_69",
			  "SODIMM_71",
			  "SODIMM_73",
			  "SODIMM_77",
			  "SODIMM_89",
			  "SODIMM_93",
			  "SODIMM_95",
			  "SODIMM_99",
			  "SODIMM_105",
			  "SODIMM_107",
			  "SODIMM_98",
			  "SODIMM_102",
			  "SODIMM_104",
			  "SODIMM_106";
	status = "okay";
};

&lsio_gpio4 {
	gpio-line-names = "",
			  "",
			  "",
			  "SODIMM_129",
			  "SODIMM_133",
			  "SODIMM_127",
			  "SODIMM_131",
			  "",
			  "",
			  "",
			  "",
			  "",
			  "",
			  "",
			  "",
			  "",
			  "",
			  "",
			  "",
			  "SODIMM_44",
			  "",
			  "SODIMM_76",
			  "SODIMM_31",
			  "SODIMM_47",
			  "SODIMM_190",
			  "SODIMM_192",
			  "SODIMM_49",
			  "SODIMM_51",
			  "SODIMM_53";
	status = "okay";
};

&lsio_gpio5 {
	gpio-line-names = "",
			  "SODIMM_57",
			  "SODIMM_65",
			  "SODIMM_85",
			  "",
			  "",
			  "",
			  "",
			  "SODIMM_135",
			  "SODIMM_137",
			  "UNUSABLE_SODIMM_180",
			  "UNUSABLE_SODIMM_184";
	status = "okay";
};

/* MIPI CSI accessible via FFC (X3) */
&mipi_csi_0 {
	#address-cells = <1>;
	#size-cells = <0>;
	/delete-property/virtual-channel;
};

&mipi0_dsi_host {
	pwr-delay = <10>;

	ports {
		#address-cells = <1>;
		#size-cells = <0>;
		port@1 {
			reg = <1>;
			mipi0_dsi_host_out: endpoint {
				remote-endpoint = <&lt8912_in>;
			};
		};
	};
};

&mipi1_dsi_host {
	pwr-delay = <10>;
};

/* On-module PCIe for Wi-Fi */
&pcieb{
	compatible = "fsl,imx8qxp-pcie","snps,dw-pcie";
	pinctrl-names = "default";
	pinctrl-0 = <&pinctrl_pcieb &pinctrl_wifi>;
	clocks = <&pcieb_lpcg 0>,
		 <&pcieb_lpcg 1>,
		 <&pcieb_lpcg 2>,
		 <&phyx1_lpcg 0>,
		 <&phyx1_crr1_lpcg 0>,
		 <&pcieb_crr3_lpcg 0>,
		 <&misc_crr5_lpcg 0>,
		 <&pcie_refclk_gate>;
		 clock-names = "pcie", "pcie_bus", "pcie_inbound_axi",
		 "pcie_phy", "phy_per", "pcie_per", "misc_per",
		 "pcie_ext";

	clkreq-gpio = <&lsio_gpio4 1 GPIO_ACTIVE_LOW>;
	ext_osc = <1>;
	fsl,max-link-speed = <1>;
	hard-wired = <1>;
	disable-gpio = <&gpio_expander_43 6 GPIO_ACTIVE_LOW>;
	power-on-gpio = <&gpio_expander_43 2 GPIO_ACTIVE_LOW>;
	reserved-region = <&rpmsg_reserved>;
	reset-gpio = <&lsio_gpio4 0 GPIO_ACTIVE_LOW>;
	status = "okay";
};

/* Colibri PWM_B */
&pwm0 {
	pinctrl-names = "default";
	pinctrl-0 = <&pinctrl_pwm_b>;
	#pwm-cells = <3>;
};

/* Colibri PWM_C */
&pwm1 {
	pinctrl-names = "default";
	pinctrl-0 = <&pinctrl_pwm_c>;
	#pwm-cells = <3>;
};

/* Colibri PWM_D */
&pwm2 {
	pinctrl-names = "default";
	pinctrl-0 = <&pinctrl_pwm_d>;
	#pwm-cells = <3>;
};

&rpmsg{
	/*
	 * 64K for one rpmsg instance:
	 */
	vdev-nums = <2>;
	reg = <0x0 0x90000000 0x0 0x20000>;
	memory-region = <&vdevbuffer>;
	status = "okay";
};

/* On-module I2S */
&sai0 {
	#sound-dai-cells = <0>;
	pinctrl-names = "default";
	pinctrl-0 = <&pinctrl_sai0>;
	status = "okay";
};

&thermal_zones {
	cpu-thermal0 {
		trips {
			cpu_alert0: trip0 {
				temperature = <90000>;
				hysteresis = <2000>;
				type = "passive";
			};
			cpu_crit0: trip1 {
				temperature = <105000>;
				hysteresis = <2000>;
				type = "critical";
			};
		};
	};

	pmic-thermal0 {
		polling-delay-passive = <250>;
		polling-delay = <2000>;
		thermal-sensors = <&tsens IMX_SC_R_PMIC_0>;

		trips {
			pmic_alert0: trip0 {
				temperature = <110000>;
				hysteresis = <2000>;
				type = "passive";
			};

			pmic_crit0: trip1 {
				temperature = <125000>;
				hysteresis = <2000>;
				type = "critical";
			};
		};

		cooling-maps {
			pmic_cooling_map0: map0 {
				trip = <&pmic_alert0>;
				cooling-device =
					<&A35_0 THERMAL_NO_LIMIT THERMAL_NO_LIMIT>,
					<&A35_1 THERMAL_NO_LIMIT THERMAL_NO_LIMIT>;
			};
		};
	};
};

/* On-module eMMC */
&usdhc1 {
	bus-width = <8>;
	no-sd;
	no-sdio;
	non-removable;
	pinctrl-names = "default", "state_100mhz", "state_200mhz";
	pinctrl-0 = <&pinctrl_usdhc1>;
	pinctrl-1 = <&pinctrl_usdhc1_100mhz>;
	pinctrl-2 = <&pinctrl_usdhc1_200mhz>;
	status = "okay";
};

/* Colibri SDCard */
&usdhc2 {
	bus-width = <4>;
	cd-gpios = <&lsio_gpio3 9 GPIO_ACTIVE_LOW>;
	disable-wp;
	no-1-8-v;
	pinctrl-names = "default", "state_100mhz", "state_200mhz", "sleep";
	pinctrl-0 = <&pinctrl_usdhc2>, <&pinctrl_usdhc2_gpio>;
	pinctrl-1 = <&pinctrl_usdhc2_100mhz>, <&pinctrl_usdhc2_gpio>;
	pinctrl-2 = <&pinctrl_usdhc2_200mhz>, <&pinctrl_usdhc2_gpio>;
	pinctrl-3 = <&pinctrl_usdhc2_sleep>, <&pinctrl_usdhc2_gpio_sleep>;
	vmmc-supply = <&reg_module_3v3>;
};

&vpu_decoder {
	boot-region = <&decoder_boot>;
	rpc-region = <&decoder_rpc>;
	reg-csr = <0x2d040000>;
	core_type = <1>;
	status = "okay";
};

&vpu_encoder {
	boot-region = <&encoder_boot>;
	rpc-region = <&encoder_rpc>;
	reserved-region = <&encoder_reserved>;
	reg-rpc-system = <0x40000000>;
	resolution-max = <1920 1920>;
	mbox-names = "enc1_tx0", "enc1_tx1", "enc1_rx";
	mboxes = <&mu1_m0 0 0
		  &mu1_m0 0 1
		  &mu1_m0 1 0>;
	status = "okay";

	core0@1020000 {
		compatible = "fsl,imx8-mu1-vpu-m0";
		reg = <0x1020000 0x20000>;
		reg-csr = <0x1050000 0x10000>;
		interrupts = <GIC_SPI 470 IRQ_TYPE_LEVEL_HIGH>;
		fsl,vpu_ap_mu_id = <17>;
		fw-buf-size = <0x200000>;
		rpc-buf-size = <0x80000>;
		print-buf-size = <0x80000>;
	};
};
